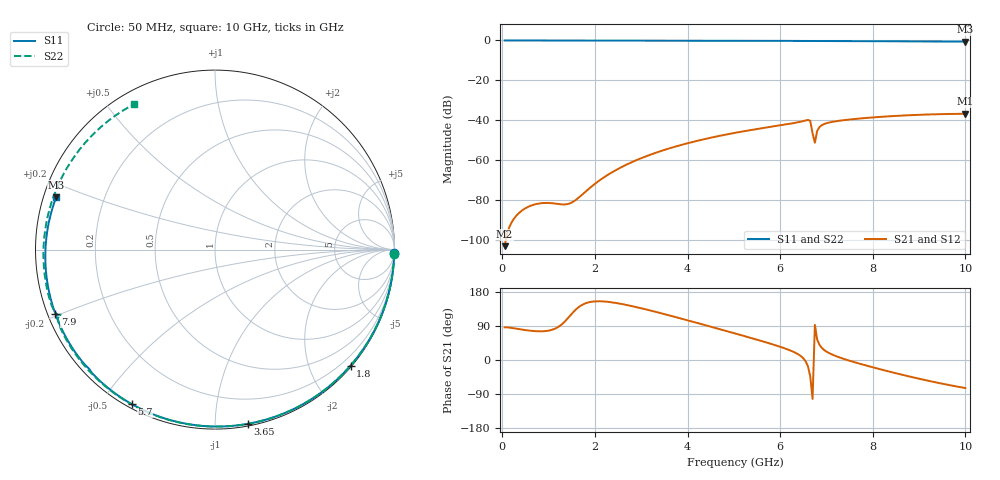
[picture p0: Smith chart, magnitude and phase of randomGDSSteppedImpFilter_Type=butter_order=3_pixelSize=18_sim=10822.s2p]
! freq	dB(S11)	phase(S11)	dB(S12)	phase(S12)
!  dB(S21)	phase(S21)	dB(S22)	phase(S22)
!S-par simulation data
#  GHz  S  DB  R 50
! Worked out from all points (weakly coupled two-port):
!   200 points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, 50 MHz to 10 GHz, reference 50 ohm
!   highest |S21| = -36.68 dB at 10 GHz (marker M1); lowest = -102.9 dB at 50 MHz (marker M2)
!   lowest |S11| = -0.6 dB at 10 GHz (marker M3), VSWR 28.29, Z = 1.81 + j7.99 ohm
!   |S11| at or under -10 dB: nowhere
!   |S22| runs from -0.7 to 0.0 dB; largest |S21 - S12| = 0
!   S11 on the Smith chart (normalised r, x): 50 MHz: open; 1.8 GHz: 0.02, -2.71; 3.65 GHz: 0.01, -1.21; 5.7 GHz: 0.02, -0.60; 7.9 GHz: 0.02, -0.19; 10 GHz: 0.04, +0.16
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0.05  -0.00 -1.1  -102.90 86.3  -102.90 86.3  -0.01 -1.3
0.75  -0.02 -17.1  -81.75 75.9  -81.75 75.9  -0.03 -19.4
1.55  -0.04 -35.0  -80.38 128.6  -80.38 128.6  -0.05 -39.7
1.75  -0.05 -39.4  -76.59 147.1  -76.59 147.1  -0.06 -44.7
1.8  -0.05 -40.5  -75.57 149.7  -75.57 149.7  -0.06 -46.0
2.15  -0.06 -48.1  -69.19 154.8  -69.19 154.8  -0.07 -54.6
2.5  -0.07 -55.6  -64.26 149.6  -64.26 149.6  -0.08 -63.1
3.4  -0.10 -74.2  -55.51 124.3  -55.51 124.3  -0.11 -84.3
3.65  -0.11 -79.3  -53.68 116.3  -53.68 116.3  -0.12 -90.0
5.05  -0.16 -106.3  -46.11 69.3  -46.11 69.3  -0.19 -121.3
5.7  -0.20 -118.3  -43.55 46.4  -43.55 46.4  -0.23 -135.5
6.6  -0.26 -134.8  -39.74 -16.5  -39.74 -16.5  -0.38 -156.0
6.65  -0.27 -135.7  -40.23 -43.3  -40.23 -43.3  -0.50 -157.2
6.7  -0.30 -136.5  -46.46 -102.7  -46.46 -102.7  -0.60 -157.1
6.75  -0.29 -137.3  -51.15 92.7  -51.15 92.7  -0.46 -157.5
6.8  -0.29 -138.1  -45.20 53.7  -45.20 53.7  -0.38 -158.8
6.85  -0.28 -139.0  -43.31 39.9  -43.31 39.9  -0.35 -160.1
6.95  -0.29 -140.9  -41.81 26.4  -41.81 26.4  -0.34 -162.5
7.9  -0.37 -158.0  -38.68 -16.0  -38.68 -16.0  -0.42 175.1
8.35  -0.41 -166.3  -37.94 -30.4  -37.94 -30.4  -0.46 164.1
9.15  -0.50 178.7  -37.06 -53.5  -37.06 -53.5  -0.55 143.4
10  -0.61 161.8  -36.68 -74.1  -36.68 -74.1  -0.66 119.3
